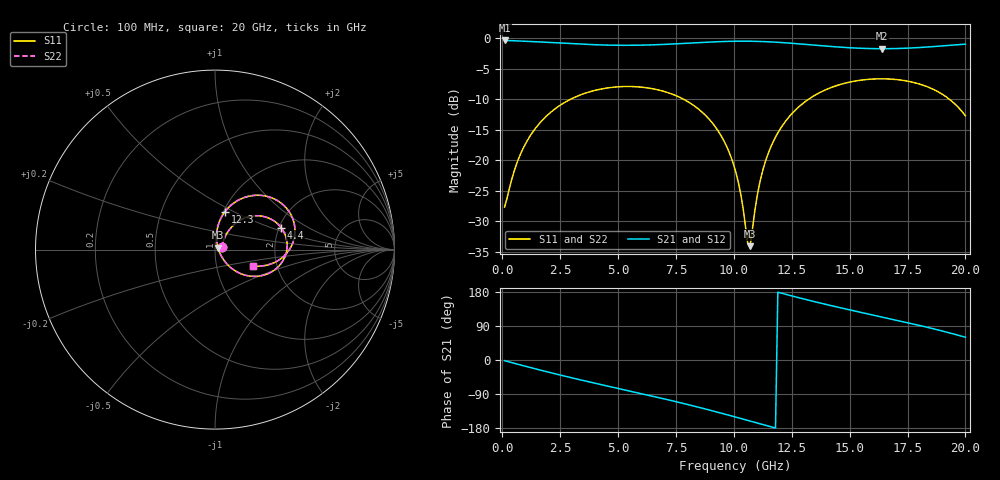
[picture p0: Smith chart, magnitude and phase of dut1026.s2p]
! Touchstone file exported from HFSS 2026.1.0
!  File:  C:/ffzhzh/LocalFiles/Ansys_Project_Files/temp_train_TSV_RDL_1026_1783293169_38704.aedt
!  Generated:  07:22:16 AM Jul  6, 2026
!  Design:  TSV_RDL
!  Project:  temp_train_TSV_RDL_1026_1783293169_38704
! Variables:
!  h_bsmrdl = 3.25um
!  h_ox = 20um
!  h_rdl = 5um
!  h_sub = 87.95um
!  h_tmrdl = 2.09um
!  h_tsv = 87.95um
!  h_via = 3um
!  l_bsmrdl = 129.78um
!  l_sub = 4391.49um
!  l_tmrdl = 871.52um
!  m_sub = 200um
!  pitch = 39.35um
!  r_tsv = 14.89um
!  s_tmrdl = 10um
!  w_bsmrdl = 23.1um
!  w_sub = 500um
!  w_tmrdl = 15.59um
!  x_tsv_center1 = 879.315um
!  x_tsv_center2 = 1032.195um
!  x_tsv_center3 = 1919.305um
!  x_tsv_center4 = 2072.185um
!  x_tsv_center5 = 2959.295um
!  x_tsv_center6 = 3112.175um
# GHz S MA R 50.000000
! Terminal data exported
! Port[1] = TM_RDL1_1_T1
! Port[2] = TM_RDL5_1_T1
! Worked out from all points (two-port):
!   200 points, 100 MHz to 20 GHz, reference 50 ohm
!   highest |S21| = -0.35 dB at 100 MHz (marker M1); lowest = -1.7 dB at 16.4 GHz (marker M2)
!   |S21| within 3 dB of the highest: start of sweep to end of sweep
!   lowest |S11| = -34.0 dB at 10.7 GHz (marker M3), VSWR 1.04, Z = 51.7 + j1.08 ohm
!   |S11| at or under -10 dB: start of sweep to 2.938 GHz; 7.84 GHz to 13.22 GHz (5.378 GHz wide, 51.1 % of centre); 19.32 GHz to end of sweep
!   |S22| runs from -34.1 to -6.6 dB; largest |S21 - S12| = 1.6e-14
!   S11 on the Smith chart (normalised r, x): 100 MHz: 1.08, +0.03; 4.4 GHz: 2.05, +0.59; 12.3 GHz: 1.02, +0.45; 20 GHz: 1.51, -0.29
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0.1  0.04154 18.4  0.9609 -1.7  0.9609 -1.7  0.04154 18.4
! Gamma 0 0 0 0
! Port Impedance 50 0 50 0
0.6  0.09166 52.0  0.9538 -10.1  0.9538 -10.1  0.09166 52.0
1.3  0.1692 53.1  0.9408 -21.3  0.9408 -21.3  0.1692 53.1
2.3  0.2664 43.8  0.9194 -36.7  0.9194 -36.7  0.2664 43.8
3.5  0.3511 29.5  0.8945 -54.2  0.8945 -54.2  0.3511 29.5
4.4  0.3885 18.3  0.8817 -66.8  0.8817 -66.8  0.3885 18.3
6.8  0.3755 -12.1  0.8888 -99.9  0.8888 -99.9  0.3754 -12.1
8.9  0.2212 -40.1  0.9312 -131.3  0.9312 -131.3  0.2212 -40.2
9.6  0.1412 -48.3  0.9426 -142.7  0.9426 -142.7  0.1412 -48.3
10.1  0.07825 -49.9  0.9471 -151.0  0.9471 -151.0  0.07819 -50.0
10.3  0.05278 -46.1  0.9478 -154.3  0.9478 -154.3  0.05271 -46.1
10.6  0.0209 -6.0  0.9475 -159.4  0.9475 -159.4  0.0208 -6.0
10.7  0.01984 31.6  0.947 -161.1  0.947 -161.1  0.01976 31.8
11  0.05031 78.9  0.9446 -166.1  0.9446 -166.1  0.0503 79.0
11.3  0.08961 84.0  0.9406 -171.2  0.9406 -171.2  0.08962 84.1
12.3  0.2174 75.4  0.9173 172.4  0.9173 172.4  0.2174 75.4
13.4  0.3332 60.6  0.8821 155.2  0.8821 155.2  0.3331 60.6
14.8  0.4291 42.1  0.8418 135.1  0.8418 135.1  0.4291 42.1
16.4  0.4663 22.0  0.8225 113.5  0.8225 113.5  0.4662 22.1
16.7  0.4646 18.3  0.823 109.4  0.823 109.4  0.4646 18.3
18.6  0.3833 -5.8  0.8556 82.7  0.8556 82.7  0.3832 -5.7
20  0.232 -23.2  0.8964 60.1  0.8964 60.1  0.232 -22.9
